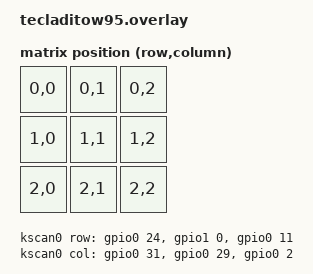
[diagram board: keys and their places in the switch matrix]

#include <dt-bindings/zmk/matrix_transform.h>
// #include <dt-bindings/led/led.h>

/ {
    kscan0: kscan0 {
        compatible = "zmk,kscan-gpio-matrix";
        diode-direction = "col2row";
        wakeup-source;

        col-gpios
            = <&gpio0 31 GPIO_ACTIVE_HIGH>
            , <&gpio0 29 GPIO_ACTIVE_HIGH>
            , <&gpio0 2 GPIO_ACTIVE_HIGH>
            ;

        row-gpios
            = <&gpio0 24 (GPIO_ACTIVE_HIGH | GPIO_PULL_DOWN)>
            , <&gpio1 0 (GPIO_ACTIVE_HIGH | GPIO_PULL_DOWN)>
            , <&gpio0 11 (GPIO_ACTIVE_HIGH | GPIO_PULL_DOWN)>
            ;
    };

    default_transform: matrix_transform {
        compatible = "zmk,matrix-transform";
        columns = <3>;//<4>;
        rows = <3>;
        map = <
            RC(0,0) RC(0,1) RC(0,2) // RC(0,3)
            RC(1,0) RC(1,1) RC(1,2) // RC(1,3)
            RC(2,0) RC(2,1) RC(2,2) // RC(2,3)
        >;
    };

    physical_layout0: physical_layout0 {
        compatible = "zmk,physical-layout";
        display-name = "Default Layout";
        kscan = <&kscan0>;
        transform = <&default_transform>;
    };

    chosen {
        zmk,physical-layout = &physical_layout0;
//         zmk,underglow=&led_strip;
    };
};

// -------- RGB Underglow ------
// &pinctrl {
//     spi3_default: spi3_default {
//         group1 {
//             psels = <NRF_PSEL(SPIM_MOSI, 0, 6)>;
//         };
//     };
//
//     spi3_sleep: spi3_sleep {
//         group1 {
//             psels = <NRF_PSEL(SPIM_MOSI, 0, 6)>;
//             low-power-enable;
//         };
//     };
// };
//
// &spi3 {
//     compatible = "nordic,nrf-spim";
//     status="okay";
//
//     pinctrl-0 = <&spi3_default>;
//     pinctrl-1 = <&spi3_sleep>;
//     pinctrl-names = "default", "sleep";
//
//     led_strip: ws2812@0 {
//         compatible = "worldsemi,ws2812-spi";
//
//         /* SPI */
//         reg = <0>; // ignored, but necessary for SPI bindings
//         spi-max-frequency = <4000000>;
//
//         /* WS2818 */
//         chain-length = <1>;
//         spi-one-frame = <0x70>;
//         spi-zero-frame = <0x40>;
//         color-mapping = <LED_COLOR_ID_GREEN
//                          LED_COLOR_ID_RED
//                          LED_COLOR_ID_BLUE>;
//     };
// };
